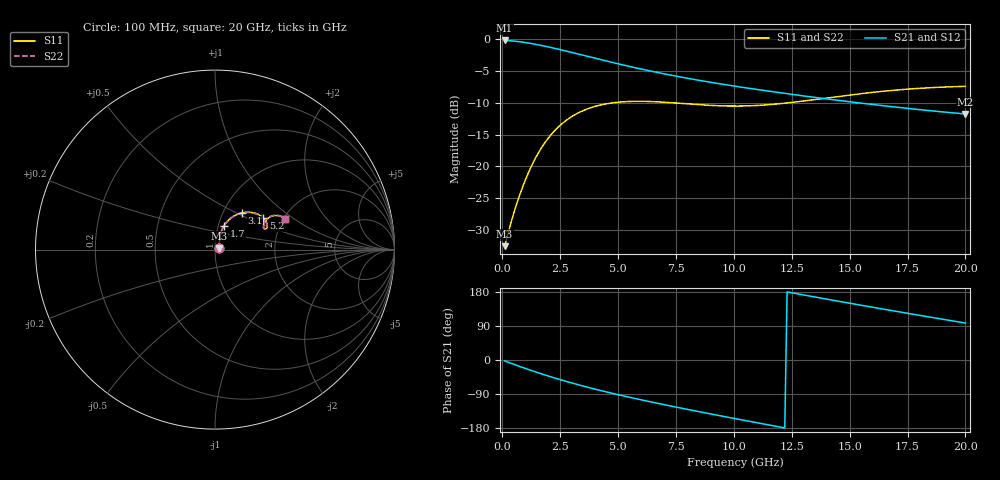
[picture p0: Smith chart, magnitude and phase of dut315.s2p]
! Touchstone file exported from HFSS 2024.1.0
!  File:  C:/UserFiles/LocalFiles/RDL_TSV_Batchsim/temp_RDL_TSV_315_1779628315.aedt
!  Generated:  09:25:20 PM May 24, 2026
!  Design:  RDL_TSV
!  Project:  temp_RDL_TSV_315_1779628315
!  Setup:  Setup1
!  Solution:  Sweep
! Variables:
!  dtsv = 14.98um
!  hbump = 3um
!  htsv = 50.6um
!  ldown = 616.1um
!  lrdl = 568.48um
!  p = 40
!  p1 = 52.85um
!  rhole = 10um
!  subl = 4122.22um
!  t = 450um
!  tdown = 3.57um
!  trdl = 4.48um
!  viad = 10um
!  wdown = 18.5um
!  wrdl = 14.3um
!  xbump = 18um
# GHz S MA R 50.000000
! Terminal data exported
! Port[1] = TM1_1_T1
! Port[2] = TM1_4_T1
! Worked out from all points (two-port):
!   200 points, 100 MHz to 20 GHz, reference 50 ohm
!   highest |S21| = -0.20 dB at 100 MHz (marker M1); lowest = -11.8 dB at 20 GHz (marker M2)
!   |S21| within 3 dB of the highest: start of sweep to 4.24 GHz
!   lowest |S11| = -32.5 dB at 100 MHz (marker M3), VSWR 1.05, Z = 52.3 + j0.794 ohm
!   |S11| at or under -10 dB: start of sweep to 4.777 GHz; 7.38 GHz to 12.35 GHz (4.972 GHz wide, 50.4 % of centre)
!   |S22| runs from -32.5 to -7.4 dB; largest |S21 - S12| = 1.6e-14
!   S11 on the Smith chart (normalised r, x): 100 MHz: 1.05, +0.02; 1.7 GHz: 1.06, +0.29; 3.1 GHz: 1.22, +0.53; 5.2 GHz: 1.59, +0.62; 20 GHz: 2.05, +0.85
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0.1  0.02363 18.7  0.9772 -2.3  0.9772 -2.3  0.02363 18.7
! Gamma 0 0 0 0
! Port Impedance 50 0 50 0
0.5  0.04321 55.1  0.9662 -11.5  0.9662 -11.5  0.04322 55.1
0.9  0.07058 67.5  0.9471 -20.2  0.9471 -20.2  0.07056 67.4
1.3  0.1042 70.8  0.9217 -28.7  0.9217 -28.7  0.1041 70.7
1.7  0.1409 69.4  0.8923 -36.7  0.8923 -36.7  0.1406 69.3
2.3  0.1943 63.6  0.8443 -48.2  0.8443 -48.2  0.1939 63.4
2.7  0.2258 58.8  0.8115 -55.4  0.8115 -55.4  0.2252 58.7
3.1  0.2528 54.0  0.7789 -62.3  0.7789 -62.3  0.252 53.8
3.5  0.2749 49.3  0.7472 -68.9  0.7472 -68.9  0.274 49.1
4.3  0.3055 40.9  0.6876 -81.3  0.6876 -81.3  0.3043 40.7
5.2  0.3219 33.2  0.6282 -94.3  0.6282 -94.3  0.3203 33.1
6  0.3249 28.2  0.5825 -105.2  0.5825 -105.2  0.3231 28.1
6.8  0.3212 24.7  0.5428 -115.5  0.5428 -115.5  0.3192 24.6
7.6  0.3141 22.7  0.5084 -125.5  0.5084 -125.5  0.3119 22.7
8.4  0.3065 22.1  0.4784 -135.2  0.4784 -135.2  0.3042 22.1
10.1  0.2982 24.2  0.4259 -155.2  0.4259 -155.2  0.2959 24.4
11.7  0.3077 27.9  0.3861 -173.6  0.3861 -173.6  0.3058 28.2
13.4  0.3338 30.4  0.3507 167.3  0.3507 167.3  0.3324 30.8
15  0.3642 30.5  0.3223 149.8  0.3223 149.8  0.3634 30.9
16.7  0.3937 28.8  0.2965 131.7  0.2965 131.7  0.3933 29.1
18.3  0.414 26.3  0.2762 115.0  0.2762 115.0  0.414 26.6
20  0.426 23.5  0.2584 97.5  0.2584 97.5  0.4264 23.7
